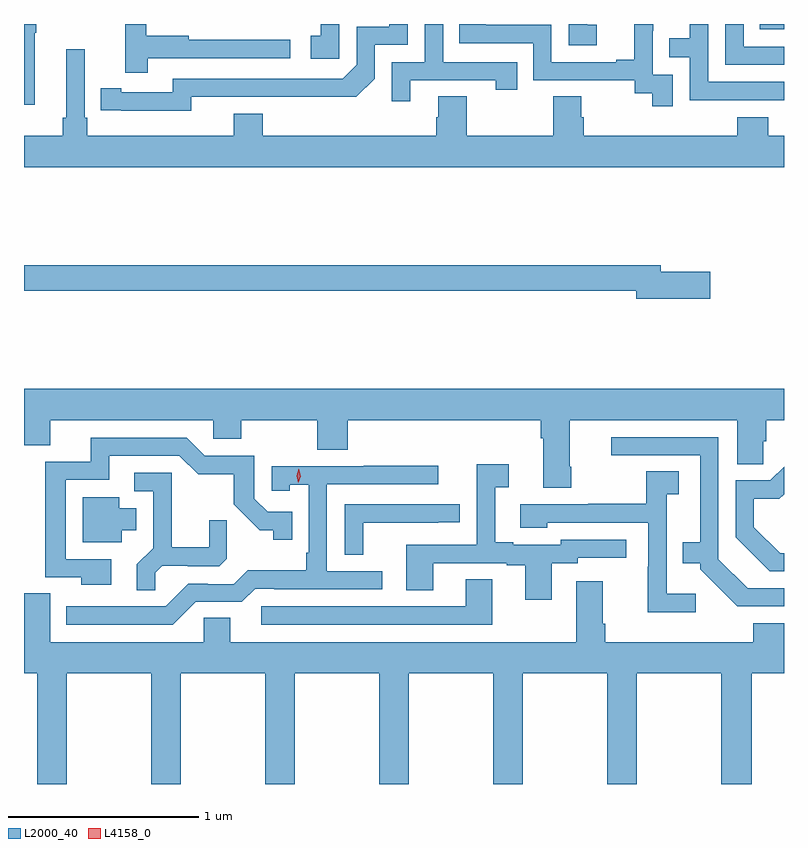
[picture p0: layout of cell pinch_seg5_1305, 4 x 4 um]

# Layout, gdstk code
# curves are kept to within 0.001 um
import gdstk
lib = gdstk.Library(unit=1e-6, precision=1e-09)
def R(c, l, rs):  # rectangles x0, y0, x1, y1
    for r in rs: c.add(gdstk.rectangle(r[:2], r[2:], *l))
def P(c, l, *ps):  # polygons
    for p in ps: c.add(gdstk.Polygon(p, *l))
L2000_40 = (2000, 40)
L4158_0 = (4158, 0)

pinch_seg5_1305 = lib.new_cell('pinch_seg5_1305')
R(pinch_seg5_1305, L2000_40, [(327.832,877.466,327.96,877.493)])
P(pinch_seg5_1305, L2000_40, [(327.375,877.227),(327.27,877.227),(327.27,877.457),(327.272,877.457),(327.272,877.493),(327.173,877.493),(327.173,877.306),(327.077,877.306),(327.077,877.293),(326.736,877.293),(326.736,877.488),(326.391,877.488),(326.391,877.493),(326.251,877.493),(326.251,877.392),(326.64,877.392),(326.64,877.197),(327.174,877.197),(327.174,877.129),(327.267,877.129),(327.267,877.059),(327.375,877.059)],
  [(324.016,877.447),(324.024,877.447),(324.024,877.493),(323.96,877.493),(323.96,877.068),(324.016,877.068)],
  [(324.611,877.314),(325.36,877.314),(325.36,877.41),(324.827,877.41),(324.827,877.43),(324.604,877.43),(324.604,877.493),(324.494,877.493),(324.494,877.236),(324.611,877.236)],
  [(327.96,877.188),(327.561,877.188),(327.561,877.493),(327.465,877.493),(327.465,877.418),(327.355,877.418),(327.355,877.317),(327.465,877.317),(327.465,877.092),(327.96,877.092)],
  [(325.62,877.493),(325.523,877.493),(325.523,877.431),(325.47,877.431),(325.47,877.311),(325.62,877.311)],
  [(327.96,877.374),(327.747,877.374),(327.747,877.493),(327.651,877.493),(327.651,877.278),(327.96,877.278)],
  [(326.974,877.489),(326.925,877.489),(326.925,877.493),(326.826,877.493),(326.826,877.38),(326.974,877.38)],
  [(325.993,877.197),(326.444,877.197),(326.444,877.146),(326.555,877.146),(326.555,877.293),(326.166,877.293),(326.166,877.493),(326.07,877.493),(326.07,877.293),(325.896,877.293),(325.896,877.086),(325.993,877.086)],
  [(324.84,877.11),(325.708,877.109),(325.806,877.206),(325.806,877.383),(325.98,877.383),(325.98,877.493),(325.883,877.493),(325.883,877.479),(325.71,877.479),(325.71,877.278),(325.638,877.206),(324.744,877.206),(324.744,877.134),(324.472,877.134),(324.472,877.154),(324.364,877.154),(324.364,877.038),(324.84,877.037)],
  [(327.96,876.904),(327.878,876.904),(327.878,877.003),(327.713,877.003),(327.713,876.904),(326.906,876.904),(326.906,877.002),(326.893,877.002),(326.893,877.112),(326.746,877.112),(326.746,876.904),(326.289,876.904),(326.289,877.112),(326.141,877.112),(326.141,877.002),(326.129,877.002),(326.129,876.904),(325.217,876.904),(325.217,877.021),(325.064,877.021),(325.064,876.904),(324.293,876.904),(324.293,877),(324.279,877),(324.279,877.36),(324.182,877.36),(324.182,877),(324.163,877),(324.163,876.904),(323.96,876.904),(323.96,876.74),(327.96,876.74)],
  [(327.571,876.188),(327.31,876.188),(327.31,876.224),(323.96,876.224),(323.96,876.088),(327.182,876.088),(327.182,876.046),(327.571,876.046)],
  [(326.841,875.164),(326.833,875.164),(326.833,875.408),(327.713,875.408),(327.713,875.176),(327.851,875.176),(327.851,875.298),(327.866,875.298),(327.866,875.408),(327.96,875.408),(327.96,875.572),(323.96,875.572),(323.96,875.275),(324.097,875.275),(324.097,875.408),(324.957,875.408),(324.957,875.31),(325.104,875.31),(325.104,875.408),(325.504,875.408),(325.504,875.251),(325.664,875.251),(325.664,875.408),(326.681,875.408),(326.681,875.312),(326.693,875.312),(326.693,875.052),(326.841,875.052)],
  [(327.96,874.524),(327.768,874.524),(327.615,874.677),(327.615,875.319),(327.051,875.319),(327.051,875.223),(327.518,875.223),(327.518,874.765),(327.427,874.765),(327.427,874.655),(327.519,874.655),(327.519,874.623),(327.714,874.428),(327.96,874.428)],
  [(324.418,874.677),(324.18,874.677),(324.18,875.094),(324.409,875.094),(324.409,875.22),(324.777,875.22),(324.876,875.122),(325.065,875.122),(325.065,874.966),(325.202,874.829),(325.272,874.829),(325.272,874.779),(325.373,874.779),(325.373,874.926),(325.242,874.926),(325.173,874.995),(325.173,875.22),(324.912,875.22),(324.816,875.316),(324.311,875.316),(324.311,875.19),(324.072,875.19),(324.072,874.581),(324.262,874.581),(324.262,874.541),(324.418,874.541)],
  [(326.737,874.656),(326.874,874.656),(326.874,874.683),(327.13,874.683),(327.13,874.779),(326.784,874.779),(326.784,874.752),(326.536,874.752),(326.536,874.765),(326.44,874.765),(326.44,875.056),(326.512,875.056),(326.512,875.176),(326.343,875.176),(326.343,874.752),(325.973,874.752),(325.973,874.513),(326.113,874.513),(326.113,874.656),(326.501,874.656),(326.501,874.644),(326.597,874.644),(326.597,874.464),(326.737,874.464)],
  [(324.864,874.452),(325.107,874.452),(325.176,874.521),(325.276,874.521),(325.276,874.518),(325.846,874.518),(325.846,874.614),(325.554,874.614),(325.554,875.07),(326.14,875.07),(326.14,875.169),(325.747,875.169),(325.747,875.166),(325.263,875.166),(325.263,875.037),(325.359,875.037),(325.359,875.069),(325.458,875.069),(325.458,874.711),(325.446,874.711),(325.446,874.618),(325.138,874.618),(325.065,874.545),(324.926,874.545),(324.926,874.548),(324.825,874.548),(324.705,874.428),(324.182,874.428),(324.182,874.332),(324.744,874.332)],
  [(327.96,874.707),(327.939,874.707),(327.802,874.844),(327.802,874.994),(327.935,874.994),(327.96,875.019),(327.96,875.163),(327.888,875.091),(327.705,875.091),(327.705,874.793),(327.884,874.614),(327.96,874.614)],
  [(327.496,874.495),(327.342,874.495),(327.342,875.017),(327.406,875.017),(327.406,875.138),(327.234,875.138),(327.234,874.968),(326.929,874.968),(326.929,874.965),(326.571,874.965),(326.571,874.841),(326.715,874.841),(326.715,874.869),(327.246,874.869),(327.246,874.637),(327.244,874.637),(327.244,874.397),(327.496,874.397)],
  [(324.651,874.604),(324.688,874.641),(324.822,874.641),(324.822,874.638),(324.987,874.638),(325.028,874.679),(325.028,874.881),(324.934,874.881),(324.934,874.738),(324.737,874.738),(324.737,875.13),(324.54,875.13),(324.54,875.034),(324.639,875.034),(324.639,874.735),(324.553,874.649),(324.553,874.513),(324.651,874.513)],
  [(324.475,874.829),(324.55,874.829),(324.55,874.945),(324.46,874.945),(324.46,875.002),(324.269,875.002),(324.269,874.766),(324.475,874.766)],
  [(325.746,874.869),(326.141,874.869),(326.141,874.87),(326.254,874.87),(326.254,874.965),(325.647,874.965),(325.647,874.699),(325.746,874.699)],
  [(326.425,874.571),(326.285,874.571),(326.285,874.428),(325.209,874.428),(325.209,874.332),(326.425,874.332)],
  [(324.186,874.076),(324.631,874.076),(324.631,873.493),(324.786,873.493),(324.786,874.076),(325.231,874.076),(325.231,873.493),(325.386,873.493),(325.386,874.076),(325.831,874.076),(325.831,873.493),(325.986,873.493),(325.986,874.076),(326.431,874.076),(326.431,873.493),(326.586,873.493),(326.586,874.076),(327.031,874.076),(327.031,873.493),(327.186,873.493),(327.186,874.076),(327.631,874.076),(327.631,873.493),(327.791,873.493),(327.791,874.076),(327.96,874.076),(327.96,874.339),(327.797,874.339),(327.797,874.24),(327.02,874.24),(327.02,874.336),(327.007,874.336),(327.007,874.561),(326.867,874.561),(326.867,874.24),(325.045,874.24),(325.045,874.367),(324.906,874.367),(324.906,874.24),(324.097,874.24),(324.097,874.496),(323.96,874.496),(323.96,874.076),(324.031,874.076),(324.031,873.493),(324.186,873.493)])
P(pinch_seg5_1305, L4158_0, [(325.404,875.079),(325.404,875.079),(325.396,875.115),(325.407,875.151),(325.407,875.151),(325.407,875.151),(325.416,875.114),(325.404,875.079)])

lib.write_gds('pinch_seg5_1305.gds')
